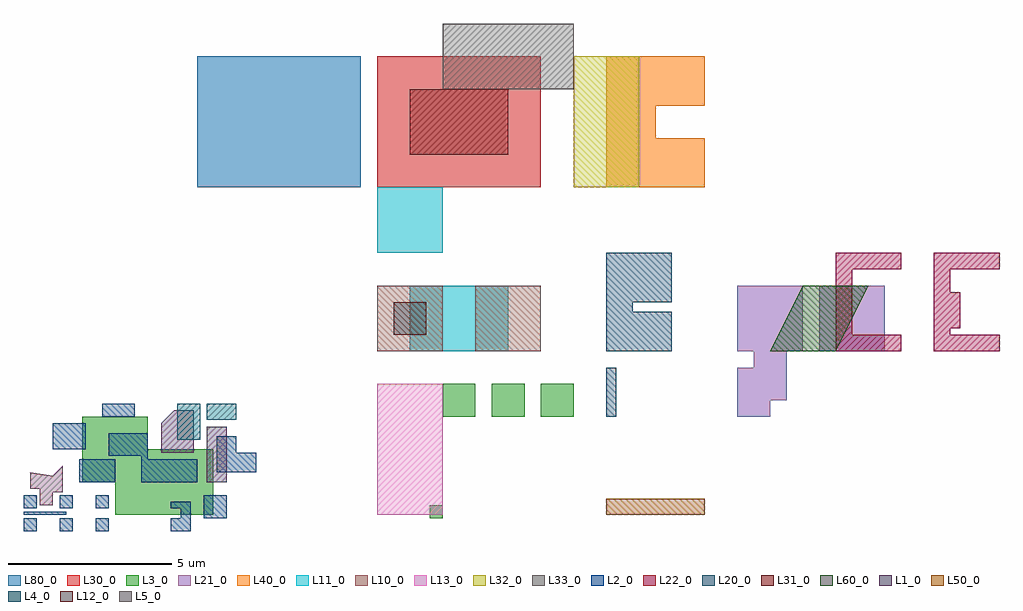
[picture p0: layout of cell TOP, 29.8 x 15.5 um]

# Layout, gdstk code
import gdstk
lib = gdstk.Library(unit=1e-6, precision=1e-09)
def R(c, l, rs):  # rectangles x0, y0, x1, y1
    for r in rs: c.add(gdstk.rectangle(r[:2], r[2:], *l))
def A(c, l, x, y, w, h, nx, ny, dx, dy):  # array of equal rectangles
    R(c, l, [(x+i*dx, y+j*dy, x+i*dx+w, y+j*dy+h) for i in range(nx) for j in range(ny)])
def P(c, l, *ps):  # polygons
    for p in ps: c.add(gdstk.Polygon(p, *l))
L1_0 = (1, 0)
L2_0 = (2, 0)
L3_0 = (3, 0)
L4_0 = (4, 0)
L5_0 = (5, 0)
L10_0 = (10, 0)
L11_0 = (11, 0)
L12_0 = (12, 0)
L13_0 = (13, 0)
L20_0 = (20, 0)
L21_0 = (21, 0)
L22_0 = (22, 0)
L30_0 = (30, 0)
L31_0 = (31, 0)
L32_0 = (32, 0)
L33_0 = (33, 0)
L40_0 = (40, 0)
L50_0 = (50, 0)
L60_0 = (60, 0)
L80_0 = (80, 0)

toptop_big = lib.new_cell('TOPTOP_BIG')
R(toptop_big, L3_0, [(1.6,-0.1,2,0.3)])

toptop_small = lib.new_cell('TOPTOP_SMALL')
R(toptop_small, L3_0, [(0,3,1,4)])

top = lib.new_cell('TOP')
R(top, L1_0, [(-0.2,-4,0.4,-2.3)])
P(top, L1_0, [(-1.6,-3.1),(-1.6,-2.2),(-1.2,-1.8),(-0.6,-1.8),(-0.6,-3.1)])
A(top, L2_0, -5.8, -5.5, 0.4, 0.4, 3, 2, 1.1, 0.7)
R(top, L2_0, [(-0.3,-5.1,0.4,-4.4), (-5.8,-5,-4.5,-4.9), (-4.1,-4,-3,-3.3), (-1.3,-4,-0.5,-3.3), (-4.9,-3,-3.9,-2.2), (-3.4,-2,-2.4,-1.6)])
P(top, L2_0, [(0.1,-3.7),(0.1,-2.6),(0.7,-2.6),(0.7,-3.1),(1.3,-3.1),(1.3,-3.7)],
  [(-1.3,-5.5),(-1.3,-5.1),(-1,-5.1),(-1,-4.8),(-1.3,-4.8),(-1.3,-4.6),(-0.7,-4.6),(-0.7,-5.5)],
  [(-2.2,-4),(-2.2,-3.2),(-3.2,-3.2),(-3.2,-2.5),(-2,-2.5),(-2,-3.3),(-0.6,-3.3),(-0.6,-4)])
R(top, L3_0, [(-3,-5,0,-3), (-4,-4,-2,-2)])
R(top, L4_0, [(-1.1,-2.7,-0.4,-1.6), (-0.2,-2.1,0.7,-1.6)])
P(top, L5_0, [(-5.3,-4.7),(-5.3,-4.2),(-5.6,-4.2),(-5.6,-3.7),(-4.9,-3.8),(-4.6,-3.5),(-4.6,-4.3),(-4.9,-4.3),(-4.9,-4.7)])
R(top, L10_0, [(5,0,7,2), (8,0,10,2)])
R(top, L11_0, [(6,0,9,2), (5,3,7,5)])
R(top, L12_0, [(5.5,0.5,6.5,1.5)])
R(top, L13_0, [(5,-5,7,-4), (5,-4,7,-3), (5,-3,6,-1), (6,-3,7,-1)])
R(top, L20_0, [(12,-2,12.3,-0.5)])
P(top, L20_0, [(12,0),(12,3),(14,3),(14,1.5),(12.8,1.5),(12.8,1.2),(14,1.2),(14,0)])
R(top, L21_0, [(16,-2,17,-0.5), (16.5,-1.5,17.5,0), (16,0,18,2), (18.5,0,20.5,2)])
P(top, L22_0, [(19,0),(19,3),(21,3),(21,2.5),(19.5,2.5),(19.5,0.5),(21,0.5),(21,0)],
  [(22,0),(22,3),(24,3),(24,2.5),(22.5,2.5),(22.5,1.8),(22.8,1.8),(22.8,0.7),(22.5,0.7),(22.5,0.5),(24,0.5),(24,0)])
R(top, L30_0, [(5,5,10,9)])
R(top, L31_0, [(6,6,9,8)])
R(top, L32_0, [(11,5,13,9)])
R(top, L33_0, [(7,8,11,10)])
P(top, L40_0, [(12,5),(12,9),(15,9),(15,7.5),(13.5,7.5),(13.5,6.5),(15,6.5),(15,5)])
R(top, L50_0, [(12,-5,15,-4.5)])
P(top, L60_0, [(17,0),(18,2),(20,2),(19,0)])
R(top, L80_0, [(-0.5,5,4.5,9), (0,5.5,4,8.5)])
top.add(gdstk.Reference(toptop_big, (5,-5)))
top.add(gdstk.Reference(toptop_small, (7,-5)))
top.add(gdstk.Reference(toptop_small, (8.5,-5)))
top.add(gdstk.Reference(toptop_small, (10,-5)))

lib.write_gds('TOP.gds')
